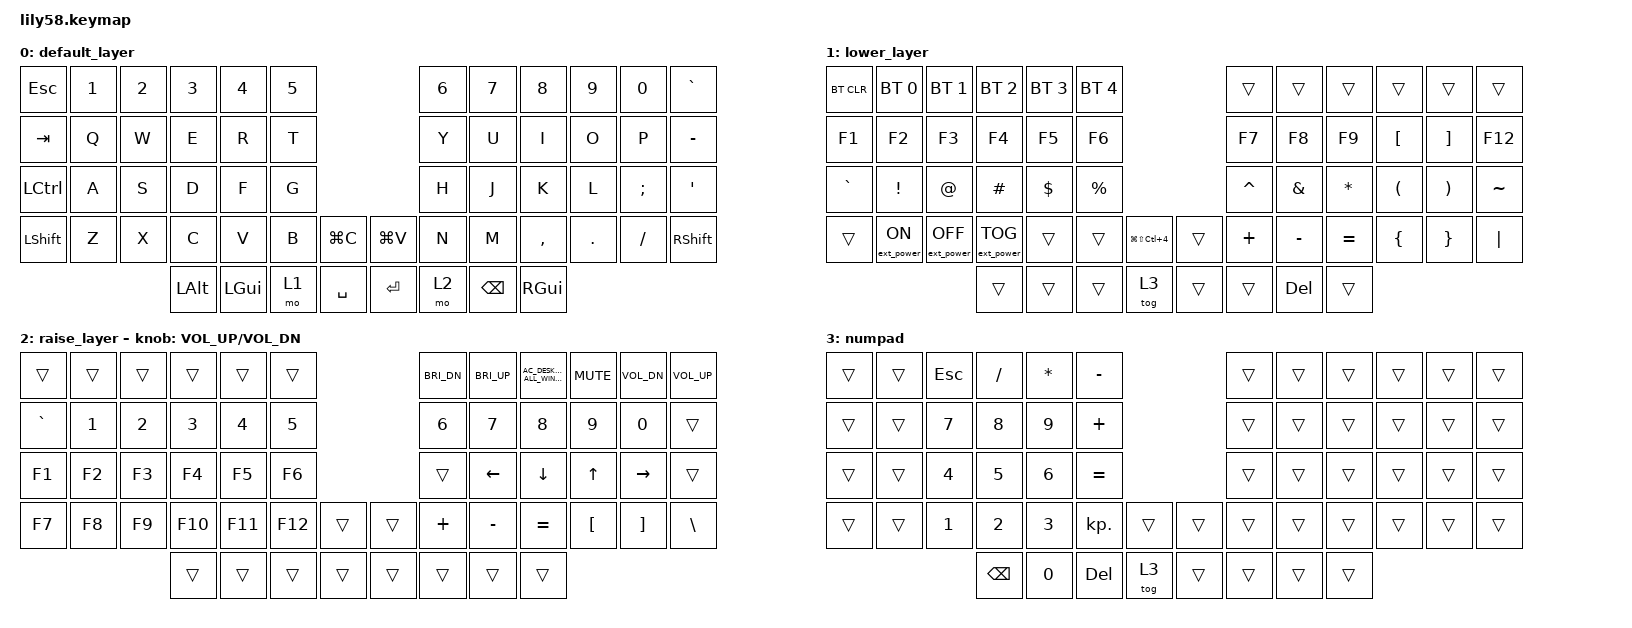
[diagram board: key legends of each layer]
/*
 * Copyright (c) 2020 The ZMK Contributors
 *
 * SPDX-License-Identifier: MIT
 */

#include <behaviors.dtsi>
#include <dt-bindings/zmk/bt.h>
#include <dt-bindings/zmk/ext_power.h>
#include <dt-bindings/zmk/keys.h>

/ {
    combos {
        compatible = "zmk,combos";

        g+h-esc {
            bindings = <&kp ESC>;
            key-positions = <29 30>;
            layers = <0>;
        };

        f+j-enter {
            bindings = <&kp ENTER>;
            key-positions = <28 31>;
        };

        d+k-double-shift {
            bindings = <&td_lshift>;
            key-positions = <27 32>;
        };
    };

    behaviors {
        td_lshift: td_lshift {
            compatible = "zmk,behavior-tap-dance";
            label = "TD_LSHIFT";
            #binding-cells = <0>;
            bindings = <&kp LEFT_SHIFT>, <&caps_word>;
        };
    };

    keymap {
        compatible = "zmk,keymap";

        default_layer {
            // ------------------------------------------------------------------------------------------------------------
            // |  ESC  |  1  |  2  |  3   |  4   |  5   |                   |  6   |  7    |  8    |  9   |   0   |   `   |
            // |  TAB  |  Q  |  W  |  E   |  R   |  T   |                   |  Y   |  U    |  I    |  O   |   P   |   -   |
            // |  CTRL |  A  |  S  |  D   |  F   |  G   |                   |  H   |  J    |  K    |  L   |   ;   |   '   |
            // | SHIFT |  Z  |  X  |  C   |  V   |  B   |   "["  |  |  "]"  |  N   |  M    |  ,    |  .   |   /   | SHIFT |
            //                     | ALT  | GUI  | LOWER|  SPACE |  | ENTER | RAISE| BSPC  | GUI   |

            bindings = <
&kp ESC         &kp N1  &kp N2  &kp N3    &kp N4    &kp N5                          &kp N6  &kp N7    &kp N8     &kp N9   &kp N0    &kp GRAVE
&kp TAB         &kp Q   &kp W   &kp E     &kp R     &kp T                           &kp Y   &kp U     &kp I      &kp O    &kp P     &kp MINUS
&kp LCTRL       &kp A   &kp S   &kp D     &kp F     &kp G                           &kp H   &kp J     &kp K      &kp L    &kp SEMI  &kp SQT
&kp LEFT_SHIFT  &kp Z   &kp X   &kp C     &kp V     &kp B   &kp LG(C)    &kp LG(V)  &kp N   &kp M     &kp COMMA  &kp DOT  &kp FSLH  &kp RSHFT
                                &kp LALT  &kp LGUI  &mo 1   &kp SPACE    &kp RET    &mo 2   &kp BSPC  &kp RGUI
            >;
        };

        lower_layer {
            // ------------------------------------------------------------------------------------------------------------
            // | BTCLR | BT1 | BT2 |  BT3 |  BT4 |  BT5 |                   |      |       |       |      |       |       |
            // |  F1   |  F2 |  F3 |  F4  |  F5  |  F6  |                   |  F7  |  F8   |  F9   |  F10 |  F11  |  F12  |
            // |   `   |  !  |  @  |  #   |  $   |  %   |                   |  ^   |  &    |  *    |  (   |   )   |   ~   |
            // |       |     |     |      |      |      |        |  |       |      |  _    |  +    |  {   |   }   |  "|"  |
            //                     |      |      |      |        |  |       |      |       |       |

            bindings = <
&bt BT_CLR  &bt BT_SEL 0      &bt BT_SEL 1       &bt BT_SEL 2       &bt BT_SEL 3  &bt BT_SEL 4                                &trans     &trans      &trans     &trans    &trans    &trans
&kp F1      &kp F2            &kp F3             &kp F4             &kp F5        &kp F6                                      &kp F7     &kp F8      &kp F9     &kp LBKT  &kp RBKT  &kp F12
&kp GRAVE   &kp EXCL          &kp AT             &kp HASH           &kp DOLLAR    &kp PRCNT                                   &kp CARET  &kp AMPS    &kp ASTRK  &kp LPAR  &kp RPAR  &kp TILDE
&trans      &ext_power EP_ON  &ext_power EP_OFF  &ext_power EP_TOG  &trans        &trans        &kp LG(LS(LC(N4)))    &trans  &kp PLUS   &kp MINUS   &kp EQUAL  &kp LBRC  &kp RBRC  &kp PIPE
                                                 &trans             &trans        &trans        &tog 3                &trans  &trans     &kp DELETE  &trans
            >;
        };

        raise_layer {
            // ------------------------------------------------------------------------------------------------------------
            // |       |     |     |      |      |      |                   |      |       |       |      |       |       |
            // |   `   |  1  |  2  |  3   |  4   |  5   |                   |  6   |   7   |   8   |  9   |   0   |       |
            // |   F1  |  F2 |  F3 |  F4  |  F5  |  F6  |                   |      |   <-  |   v   |  ^   |  ->   |       |
            // |   F7  |  F8 |  F9 |  F10 |  F11 |  F12 |        |  |       |  +   |   -   |   =   |  [   |   ]   |   \   |
            //                     |      |      |      |        |  |       |      |       |       |

            bindings = <
&trans     &trans  &trans  &trans   &trans   &trans                     &kp C_BRI_DN  &kp C_BRI_UP  &kp C_AC_DESKTOP_SHOW_ALL_WINDOWS  &kp C_MUTE  &kp C_VOL_DN  &kp C_VOL_UP
&kp GRAVE  &kp N1  &kp N2  &kp N3   &kp N4   &kp N5                     &kp N6        &kp N7        &kp N8                             &kp N9      &kp N0        &trans
&kp F1     &kp F2  &kp F3  &kp F4   &kp F5   &kp F6                     &trans        &kp LEFT      &kp DOWN                           &kp UP      &kp RIGHT     &trans
&kp F7     &kp F8  &kp F9  &kp F10  &kp F11  &kp F12  &trans    &trans  &kp PLUS      &kp MINUS     &kp EQUAL                          &kp LBKT    &kp RBKT      &kp BSLH
                           &trans   &trans   &trans   &trans    &trans  &trans        &trans        &trans
            >;

            sensor-bindings = <&inc_dec_kp C_VOL_UP C_VOL_DN>;
        };

        numpad {
            bindings = <
&trans  &trans  &kp ESC  &kp FSLH  &kp STAR  &kp MINUS                     &trans  &trans  &trans  &trans  &trans  &trans
&trans  &trans  &kp N7   &kp N8    &kp N9    &kp PLUS                      &trans  &trans  &trans  &trans  &trans  &trans
&trans  &trans  &kp N4   &kp N5    &kp N6    &kp EQUAL                     &trans  &trans  &trans  &trans  &trans  &trans
&trans  &trans  &kp N1   &kp N2    &kp N3    &kp KP_DOT  &trans    &trans  &trans  &trans  &trans  &trans  &trans  &trans
                         &kp BSPC  &kp N0    &kp DEL     &tog 3    &trans  &trans  &trans  &trans
            >;
        };
    };
};
